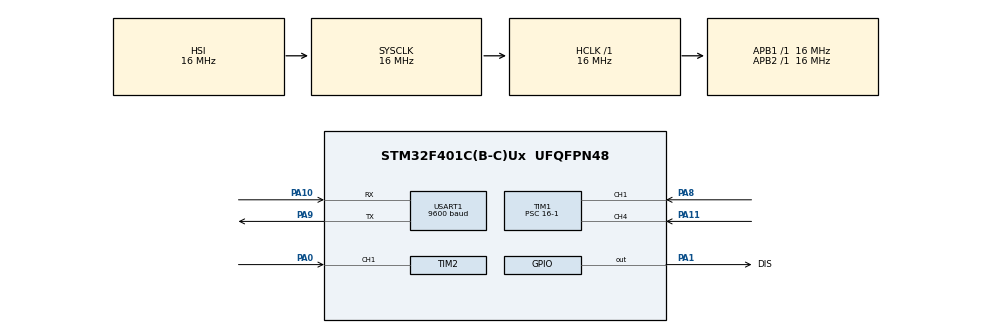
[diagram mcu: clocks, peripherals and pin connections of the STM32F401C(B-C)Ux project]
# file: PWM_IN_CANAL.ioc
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Mcu.Family=STM32F4
Mcu.Name=STM32F401C(B-C)Ux
Mcu.Package=UFQFPN48
NVIC.PriorityGroup=NVIC_PRIORITYGROUP_4
NVIC.TIM1_CC_IRQn=true\:1\:0\:true\:false\:true\:true\:true\:true
NVIC.TIM2_IRQn=true\:1\:0\:true\:false\:true\:true\:true\:true
PA0-WKUP.Signal=S_TIM2_CH1_ETR
PA1.GPIO_Label=DIS
PA1.Signal=GPIO_Output
PA10.Mode=Asynchronous
PA10.Signal=USART1_RX
PA11.Signal=S_TIM1_CH4
PA8.Signal=S_TIM1_CH1
PA9.Mode=Asynchronous
PA9.Signal=USART1_TX
ProjectManager.HeapSize=0x200
ProjectManager.StackSize=0x400
ProjectManager.TargetToolchain=STM32CubeIDE
RCC.AHBFreq_Value=16000000
RCC.APB1Freq_Value=16000000
RCC.APB2Freq_Value=16000000
RCC.CortexFreq_Value=16000000
RCC.HSE_VALUE=25000000
RCC.HSI_VALUE=16000000
RCC.LSE_VALUE=32768
RCC.SYSCLKFreq_VALUE=16000000
RCC.VCOOutputFreq_Value=192000000
SH.S_TIM1_CH1.0=TIM1_CH1,Input_Capture1_from_TI1
SH.S_TIM1_CH4.0=TIM1_CH4,Input_Capture4_from_TI4
SH.S_TIM2_CH1_ETR.0=TIM2_CH1,Input_Capture1_from_TI1
TIM1.AutoReloadPreload=TIM_AUTORELOAD_PRELOAD_ENABLE
TIM1.Channel-Input_Capture1_from_TI1=TIM_CHANNEL_1
TIM1.Channel-Input_Capture4_from_TI4=TIM_CHANNEL_4
TIM1.Prescaler=16-1
TIM2.AutoReloadPreload=TIM_AUTORELOAD_PRELOAD_ENABLE
TIM2.Channel-Input_Capture1_from_TI1=TIM_CHANNEL_1
TIM2.Prescaler=16-1
USART1.BaudRate=9600
USART1.VirtualMode=VM_ASYNC
VP_TIM1_VS_ClockSourceINT.Mode=Internal
board=custom

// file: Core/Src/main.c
/* USER CODE BEGIN Header */
/**
  ******************************************************************************
  * @file           : main.c
  * @brief          : Main program body
  ******************************************************************************
  * @attention
  *
  * Copyright (c) 2024 STMicroelectronics.
  * All rights reserved.
  *
  * This software is licensed under terms that can be found in the LICENSE file
  * in the root directory of this software component.
  * If no LICENSE file comes with this software, it is provided AS-IS.
  *
  ******************************************************************************
  */
/* USER CODE END Header */
#include "main.h"

/* USER CODE BEGIN Includes */
#include <PWM_IN.h>
#include "uart.h"
#include "delays.h"
#include "pinout.h"

#include "stdio.h"
#include "stdlib.h"
#include "stdint.h"
#include "string.h"

/* USER CODE END Includes */

TIM_HandleTypeDef htim1;
TIM_HandleTypeDef htim2;

UART_HandleTypeDef huart1;

/* USER CODE BEGIN PV */
char texto[100];
uint32_t pulso1,pulso2,pulso3;

float dis1,dis2,dis3;
/* USER CODE END PV */

void SystemClock_Config(void);
static void MX_GPIO_Init(void);
static void MX_TIM1_Init(void);
static void MX_TIM2_Init(void);
static void MX_USART1_UART_Init(void);

int main(void)
{

  /* MCU Configuration--------------------------------------------------------*/

  /* Reset of all peripherals, Initializes the Flash interface and the Systick. */
  HAL_Init();

  /* Configure the system clock */
  SystemClock_Config();

  /* Initialize all configured peripherals */
  MX_GPIO_Init();
  MX_TIM1_Init();
  MX_TIM2_Init();
  MX_USART1_UART_Init();
  /* USER CODE BEGIN 2 */
  PWM_IN_init(&PWM_IN1);
  PWM_IN_init(&PWM_IN2);
  PWM_IN_init(&PWM_IN3);
  delay_init();

  /* USER CODE END 2 */

  /* Infinite loop */
  /* USER CODE BEGIN WHILE */
  while (1)
  {
      PIN_ON(DIS);
      delay_us(10);
      PIN_OFF(DIS);

      delay_ms(22);

	  pulso1=PWM_IN1.pulso;
	  pulso2=PWM_IN2.pulso;
	  pulso3=PWM_IN3.pulso;

	  //limpia los pulso por si no se dan inetrrpciones
	  PWM_IN1.pulso=0;
	  PWM_IN2.pulso=0;
	  PWM_IN3.pulso=0;

	   dis1=pulso1/58.0;
	   dis2=pulso2/58.0;
	   dis3=pulso3/58.0;

 	   sprintf(texto,"D1=%.1f\r\n",dis1);
 	  uartx_write_text(&huart1, texto);

 	 sprintf(texto,"D2=%.1f\r\n",dis2);
 	 	  uartx_write_text(&huart1, texto);

 	 	  sprintf(texto,"D3=%.1f\r\n",dis3);
 	 	  uartx_write_text(&huart1, texto);

    	uartx_write_text(&huart1, "\r\n");
    	uartx_write_text(&huart1, "\r\n");

	  	  HAL_Delay(100);

    /* USER CODE END WHILE */

  }
}

void SystemClock_Config(void)
{
  RCC_OscInitTypeDef RCC_OscInitStruct = {0};
  RCC_ClkInitTypeDef RCC_ClkInitStruct = {0};

  /** Configure the main internal regulator output voltage
  */
  __HAL_RCC_PWR_CLK_ENABLE();
  __HAL_PWR_VOLTAGESCALING_CONFIG(PWR_REGULATOR_VOLTAGE_SCALE2);

  /** Initializes the RCC Oscillators according to the specified parameters
  * in the RCC_OscInitTypeDef structure.
  */
  RCC_OscInitStruct.OscillatorType = RCC_OSCILLATORTYPE_HSI;
  RCC_OscInitStruct.HSIState = RCC_HSI_ON;
  RCC_OscInitStruct.HSICalibrationValue = RCC_HSICALIBRATION_DEFAULT;
  RCC_OscInitStruct.PLL.PLLState = RCC_PLL_NONE;
  if (HAL_RCC_OscConfig(&RCC_OscInitStruct) != HAL_OK)
  {
    Error_Handler();
  }

  /** Initializes the CPU, AHB and APB buses clocks
  */
  RCC_ClkInitStruct.ClockType = RCC_CLOCKTYPE_HCLK|RCC_CLOCKTYPE_SYSCLK
                              |RCC_CLOCKTYPE_PCLK1|RCC_CLOCKTYPE_PCLK2;
  RCC_ClkInitStruct.SYSCLKSource = RCC_SYSCLKSOURCE_HSI;
  RCC_ClkInitStruct.AHBCLKDivider = RCC_SYSCLK_DIV1;
  RCC_ClkInitStruct.APB1CLKDivider = RCC_HCLK_DIV1;
  RCC_ClkInitStruct.APB2CLKDivider = RCC_HCLK_DIV1;

  if (HAL_RCC_ClockConfig(&RCC_ClkInitStruct, FLASH_LATENCY_0) != HAL_OK)
  {
    Error_Handler();
  }
}

static void MX_TIM1_Init(void)
{

  TIM_ClockConfigTypeDef sClockSourceConfig = {0};
  TIM_MasterConfigTypeDef sMasterConfig = {0};
  TIM_IC_InitTypeDef sConfigIC = {0};

  htim1.Instance = TIM1;
  htim1.Init.Prescaler = 16-1;
  htim1.Init.CounterMode = TIM_COUNTERMODE_UP;
  htim1.Init.Period = 65535;
  htim1.Init.ClockDivision = TIM_CLOCKDIVISION_DIV1;
  htim1.Init.RepetitionCounter = 0;
  htim1.Init.AutoReloadPreload = TIM_AUTORELOAD_PRELOAD_ENABLE;
  if (HAL_TIM_Base_Init(&htim1) != HAL_OK)
  {
    Error_Handler();
  }
  sClockSourceConfig.ClockSource = TIM_CLOCKSOURCE_INTERNAL;
  if (HAL_TIM_ConfigClockSource(&htim1, &sClockSourceConfig) != HAL_OK)
  {
    Error_Handler();
  }
  if (HAL_TIM_IC_Init(&htim1) != HAL_OK)
  {
    Error_Handler();
  }
  sMasterConfig.MasterOutputTrigger = TIM_TRGO_RESET;
  sMasterConfig.MasterSlaveMode = TIM_MASTERSLAVEMODE_DISABLE;
  if (HAL_TIMEx_MasterConfigSynchronization(&htim1, &sMasterConfig) != HAL_OK)
  {
    Error_Handler();
  }
  sConfigIC.ICPolarity = TIM_INPUTCHANNELPOLARITY_RISING;
  sConfigIC.ICSelection = TIM_ICSELECTION_DIRECTTI;
  sConfigIC.ICPrescaler = TIM_ICPSC_DIV1;
  sConfigIC.ICFilter = 0;
  if (HAL_TIM_IC_ConfigChannel(&htim1, &sConfigIC, TIM_CHANNEL_1) != HAL_OK)
  {
    Error_Handler();
  }
  if (HAL_TIM_IC_ConfigChannel(&htim1, &sConfigIC, TIM_CHANNEL_4) != HAL_OK)
  {
    Error_Handler();
  }

}

static void MX_TIM2_Init(void)
{

  TIM_MasterConfigTypeDef sMasterConfig = {0};
  TIM_IC_InitTypeDef sConfigIC = {0};

  htim2.Instance = TIM2;
  htim2.Init.Prescaler = 16-1;
  htim2.Init.CounterMode = TIM_COUNTERMODE_UP;
  htim2.Init.Period = 4294967295;
  htim2.Init.ClockDivision = TIM_CLOCKDIVISION_DIV1;
  htim2.Init.AutoReloadPreload = TIM_AUTORELOAD_PRELOAD_ENABLE;
  if (HAL_TIM_IC_Init(&htim2) != HAL_OK)
  {
    Error_Handler();
  }
  sMasterConfig.MasterOutputTrigger = TIM_TRGO_RESET;
  sMasterConfig.MasterSlaveMode = TIM_MASTERSLAVEMODE_DISABLE;
  if (HAL_TIMEx_MasterConfigSynchronization(&htim2, &sMasterConfig) != HAL_OK)
  {
    Error_Handler();
  }
  sConfigIC.ICPolarity = TIM_INPUTCHANNELPOLARITY_RISING;
  sConfigIC.ICSelection = TIM_ICSELECTION_DIRECTTI;
  sConfigIC.ICPrescaler = TIM_ICPSC_DIV1;
  sConfigIC.ICFilter = 0;
  if (HAL_TIM_IC_ConfigChannel(&htim2, &sConfigIC, TIM_CHANNEL_1) != HAL_OK)
  {
    Error_Handler();
  }

}

static void MX_USART1_UART_Init(void)
{

  huart1.Instance = USART1;
  huart1.Init.BaudRate = 9600;
  huart1.Init.WordLength = UART_WORDLENGTH_8B;
  huart1.Init.StopBits = UART_STOPBITS_1;
  huart1.Init.Parity = UART_PARITY_NONE;
  huart1.Init.Mode = UART_MODE_TX_RX;
  huart1.Init.HwFlowCtl = UART_HWCONTROL_NONE;
  huart1.Init.OverSampling = UART_OVERSAMPLING_16;
  if (HAL_UART_Init(&huart1) != HAL_OK)
  {
    Error_Handler();
  }

}

static void MX_GPIO_Init(void)
{
  GPIO_InitTypeDef GPIO_InitStruct = {0};

  /* GPIO Ports Clock Enable */
  __HAL_RCC_GPIOA_CLK_ENABLE();

  /*Configure GPIO pin Output Level */
  HAL_GPIO_WritePin(DIS_GPIO_Port, DIS_Pin, GPIO_PIN_RESET);

  /*Configure GPIO pin : DIS_Pin */
  GPIO_InitStruct.Pin = DIS_Pin;
  GPIO_InitStruct.Mode = GPIO_MODE_OUTPUT_PP;
  GPIO_InitStruct.Pull = GPIO_NOPULL;
  GPIO_InitStruct.Speed = GPIO_SPEED_FREQ_LOW;
  HAL_GPIO_Init(DIS_GPIO_Port, &GPIO_InitStruct);

}

void Error_Handler(void)
{
  __disable_irq();
  while (1)
  {
  }
}
